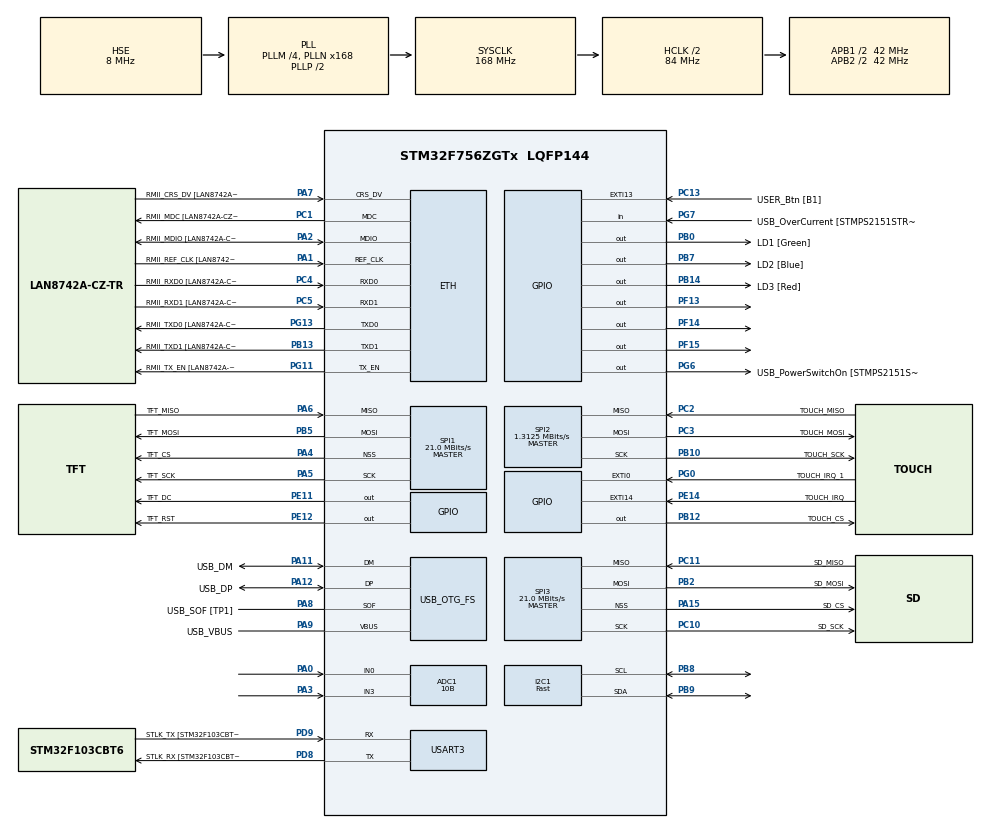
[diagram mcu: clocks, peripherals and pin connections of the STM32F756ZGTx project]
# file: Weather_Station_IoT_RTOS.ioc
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ADC1.Channel-0\#ChannelRegularConversion=ADC_CHANNEL_0
ADC1.Channel-1\#ChannelRegularConversion=ADC_CHANNEL_3
ADC1.Channel-2\#ChannelRegularConversion=ADC_CHANNEL_VBAT
ADC1.ContinuousConvMode=ENABLE
ADC1.DMAContinuousRequests=ENABLE
ADC1.EnableAnalogWatchDog=true
ADC1.HighThreshold=1000
ADC1.ITMode=ENABLE
ADC1.LowThreshold=0
ADC1.NbrOfConversion=3
ADC1.NbrOfConversionFlag=1
ADC1.Rank-0\#ChannelRegularConversion=1
ADC1.Rank-1\#ChannelRegularConversion=2
ADC1.Rank-2\#ChannelRegularConversion=3
ADC1.Resolution=ADC_RESOLUTION_10B
ADC1.SamplingTime-0\#ChannelRegularConversion=ADC_SAMPLETIME_84CYCLES
ADC1.SamplingTime-1\#ChannelRegularConversion=ADC_SAMPLETIME_84CYCLES
ADC1.SamplingTime-2\#ChannelRegularConversion=ADC_SAMPLETIME_144CYCLES
ADC1.ScanConvMode=ADC_SCAN_ENABLE
ADC1.WatchdogChannel=ADC_CHANNEL_VBAT
ADC1.master=1
Dma.ADC1.0.Direction=DMA_PERIPH_TO_MEMORY
Dma.ADC1.0.FIFOMode=DMA_FIFOMODE_DISABLE
Dma.ADC1.0.Instance=DMA2_Stream0
Dma.ADC1.0.MemDataAlignment=DMA_MDATAALIGN_HALFWORD
Dma.ADC1.0.MemInc=DMA_MINC_ENABLE
Dma.ADC1.0.Mode=DMA_CIRCULAR
Dma.ADC1.0.PeriphDataAlignment=DMA_PDATAALIGN_HALFWORD
Dma.ADC1.0.PeriphInc=DMA_PINC_DISABLE
Dma.ADC1.0.Priority=DMA_PRIORITY_LOW
Dma.Request0=ADC1
ETH.MediaInterface=ETH_MEDIA_INTERFACE_RMII
ETH.PhyAddress=0
FREERTOS.Tasks01=DefaultTask,8,128,StartDefaultTask,Default,NULL,Dynamic,NULL,NULL
FREERTOS.configCHECK_FOR_STACK_OVERFLOW=0
FREERTOS.configENABLE_FPU=0
FREERTOS.configIDLE_SHOULD_YIELD=1
FREERTOS.configMINIMAL_STACK_SIZE=128
FREERTOS.configTICK_RATE_HZ=100
FREERTOS.configTOTAL_HEAP_SIZE=32768
FREERTOS.configUSE_IDLE_HOOK=0
FREERTOS.configUSE_MALLOC_FAILED_HOOK=0
FREERTOS.configUSE_NEWLIB_REENTRANT=1
FREERTOS.configUSE_TICKLESS_IDLE=1
I2C1.Analog_Filter=I2C_ANALOGFILTER_DISABLE
I2C1.I2C_Speed_Mode=I2C_Fast
I2C1.Timing=0x0040174C
LPTIM1.ClockPrescaler=LPTIM_PRESCALER_DIV32
LWIP.DNS_LOCAL_HOSTLIST=0
LWIP.DNS_LOCAL_HOSTLIST_IS_DYNAMIC=0
LWIP.DNS_MAX_NAME_LENGTH=1024
LWIP.DNS_MAX_SERVERS=3
LWIP.GATEWAY_ADDRESS=192.168.001.001
LWIP.IP_ADDRESS=192.168.001.026
LWIP.LWIP_ALTCP=1
LWIP.LWIP_ALTCP_TLS=1
LWIP.LWIP_BROADCAST_PING=1
LWIP.LWIP_DHCP=0
LWIP.LWIP_DHCP_MAX_DNS_SERVERS=3
LWIP.LWIP_MULTICAST_PING=1
LWIP.LWIP_RAW=0
LWIP.LWIP_TCPIP_CORE_LOCKING=0
LWIP.MEM_SIZE=20000
LWIP.NETMASK_ADDRESS=255.255.255.000
LWIP.PBUF_POOL_BUFSIZE=1600
LWIP.TCPIP_THREAD_PRIO=5
LWIP.TCP_MSS=1460
LWIP.Version=v2.1.2_Cube
MBEDTLS.MBEDTLS_MEMORY_BUFFER_ALLOC_C=0
MBEDTLS.MBEDTLS_MPI_MAX_SIZE=256
MBEDTLS.MBEDTLS_MPI_MAX_SIZE_ENABLE=1
MBEDTLS.MBEDTLS_PLATFORM_MEMORY=0
MBEDTLS.MBEDTLS_SSL_CIPHERSUITES_ENABLE=1
MBEDTLS.MBEDTLS_SSL_MAX_CONTENT_LEN_ENABLE=1
Mcu.Family=STM32F7
Mcu.Name=STM32F756ZGTx
Mcu.Package=LQFP144
NVIC.ADC_IRQn=true\:5\:0\:true\:true\:true\:3\:true\:true\:true
NVIC.DMA2_Stream0_IRQn=true\:5\:0\:false\:false\:true\:true\:false\:true
NVIC.ETH_IRQn=true\:5\:0\:false\:false\:true\:true\:false\:true
NVIC.EXTI0_IRQn=true\:5\:0\:true\:true\:true\:1\:false\:true\:true
NVIC.EXTI15_10_IRQn=true\:5\:0\:false\:true\:true\:2\:true\:true\:true
NVIC.LPTIM1_IRQn=true\:5\:0\:false\:false\:true\:true\:true\:true
NVIC.PriorityGroup=NVIC_PRIORITYGROUP_4
NVIC.TIM6_DAC_IRQn=true\:15\:0\:false\:false\:true\:false\:false\:true
NVIC.TimeBase=TIM6_DAC_IRQn
NVIC.TimeBaseIP=TIM6
PA0/WKUP.Signal=ADCx_IN0
PA1.GPIO_Label=RMII_REF_CLK [LAN8742A-CZ-TR_REFCLK0]
PA1.Mode=RMII
PA1.Signal=ETH_REF_CLK
PA10.GPIO_Label=USB_ID
PA10.Signal=USB_OTG_FS_ID
PA11.GPIO_Label=USB_DM
PA11.Mode=Device_Only
PA11.Signal=USB_OTG_FS_DM
PA12.GPIO_Label=USB_DP
PA12.Mode=Device_Only
PA12.Signal=USB_OTG_FS_DP
PA13.GPIO_Label=TMS
PA13.Mode=Serial_Wire
PA13.Signal=SYS_JTMS-SWDIO
PA14.GPIO_Label=TCK
PA14.Mode=Serial_Wire
PA14.Signal=SYS_JTCK-SWCLK
PA15.GPIO_Label=SD_CS
PA15.Mode=NSS_Signal_Hard_Output
PA15.Signal=SPI3_NSS
PA2.GPIO_Label=RMII_MDIO [LAN8742A-CZ-TR_MDIO]
PA2.Mode=RMII
PA2.Signal=ETH_MDIO
PA3.Signal=ADCx_IN3
PA4.GPIO_Label=TFT_CS
PA4.Mode=NSS_Signal_Hard_Output
PA4.Signal=SPI1_NSS
PA5.GPIO_Label=TFT_SCK
PA5.Mode=Full_Duplex_Master
PA5.Signal=SPI1_SCK
PA6.GPIO_Label=TFT_MISO
PA6.Mode=Full_Duplex_Master
PA6.Signal=SPI1_MISO
PA7.GPIO_Label=RMII_CRS_DV [LAN8742A-CZ-TR_CRS_DV]
PA7.Mode=RMII
PA7.Signal=ETH_CRS_DV
PA8.GPIO_Label=USB_SOF [TP1]
PA8.Mode=Activate_SOF_FS
PA8.Signal=USB_OTG_FS_SOF
PA9.GPIO_Label=USB_VBUS
PA9.Mode=Activate_VBUS
PA9.Signal=USB_OTG_FS_VBUS
PB0.GPIO_Label=LD1 [Green]
PB0.Signal=GPIO_Output
PB10.GPIO_Label=TOUCH_SCK
PB10.Mode=Full_Duplex_Master
PB10.Signal=SPI2_SCK
PB12.GPIO_Label=TOUCH_CS
PB12.Signal=GPIO_Output
PB13.GPIO_Label=RMII_TXD1 [LAN8742A-CZ-TR_TXD1]
PB13.Mode=RMII
PB13.Signal=ETH_TXD1
PB14.GPIO_Label=LD3 [Red]
PB14.Signal=GPIO_Output
PB2.GPIO_Label=SD_MOSI
PB2.Mode=Full_Duplex_Master
PB2.Signal=SPI3_MOSI
PB3.GPIO_Label=SWO
PB3.Signal=SYS_JTDO-SWO
PB5.GPIO_Label=TFT_MOSI
PB5.Mode=Full_Duplex_Master
PB5.Signal=SPI1_MOSI
PB7.GPIO_Label=LD2 [Blue]
PB7.Signal=GPIO_Output
PB8.Mode=I2C
PB8.Signal=I2C1_SCL
PB9.Mode=I2C
PB9.Signal=I2C1_SDA
PC1.GPIO_Label=RMII_MDC [LAN8742A-CZ-TR_MDC]
PC1.Mode=RMII
PC1.Signal=ETH_MDC
PC10.GPIO_Label=SD_SCK
PC10.Mode=Full_Duplex_Master
PC10.Signal=SPI3_SCK
PC11.GPIO_Label=SD_MISO
PC11.Mode=Full_Duplex_Master
PC11.Signal=SPI3_MISO
PC13.GPIO_Label=USER_Btn [B1]
PC13.Signal=GPXTI13
PC14/OSC32_IN.Mode=LSE-External-Oscillator
PC14/OSC32_IN.Signal=RCC_OSC32_IN
PC15/OSC32_OUT.Mode=LSE-External-Oscillator
PC15/OSC32_OUT.Signal=RCC_OSC32_OUT
PC2.GPIO_Label=TOUCH_MISO
PC2.Mode=Full_Duplex_Master
PC2.Signal=SPI2_MISO
PC3.GPIO_Label=TOUCH_MOSI
PC3.Mode=Full_Duplex_Master
PC3.Signal=SPI2_MOSI
PC4.GPIO_Label=RMII_RXD0 [LAN8742A-CZ-TR_RXD0]
PC4.Mode=RMII
PC4.Signal=ETH_RXD0
PC5.GPIO_Label=RMII_RXD1 [LAN8742A-CZ-TR_RXD1]
PC5.Mode=RMII
PC5.Signal=ETH_RXD1
PD8.GPIO_Label=STLK_RX [STM32F103CBT6_PA3]
PD8.Mode=Asynchronous
PD8.Signal=USART3_TX
PD9.GPIO_Label=STLK_TX [STM32F103CBT6_PA2]
PD9.Mode=Asynchronous
PD9.Signal=USART3_RX
PE11.GPIO_Label=TFT_DC
PE11.Signal=GPIO_Output
PE12.GPIO_Label=TFT_RST
PE12.Signal=GPIO_Output
PE14.GPIO_Label=TOUCH_IRQ
PE14.GPIO_ModeDefaultEXTI=GPIO_MODE_IT_FALLING
PE14.Signal=GPXTI14
PF13.Signal=GPIO_Output
PF14.Signal=GPIO_Output
PF15.Signal=GPIO_Output
PG0.GPIO_Label=TOUCH_IRQ_1
PG0.GPIO_ModeDefaultEXTI=GPIO_MODE_IT_FALLING
PG0.Signal=GPXTI0
PG11.GPIO_Label=RMII_TX_EN [LAN8742A-CZ-TR_TXEN]
PG11.Mode=RMII
PG11.Signal=ETH_TX_EN
PG13.GPIO_Label=RMII_TXD0 [LAN8742A-CZ-TR_TXD0]
PG13.Mode=RMII
PG13.Signal=ETH_TXD0
PG6.GPIO_Label=USB_PowerSwitchOn [STMPS2151STR_EN]
PG6.Signal=GPIO_Output
PG7.GPIO_Label=USB_OverCurrent [STMPS2151STR_FAULT]
PG7.Signal=GPIO_Input
PH0/OSC_IN.GPIO_Label=MCO [STM32F103CBT6_PA8]
PH0/OSC_IN.Mode=HSE-External-Clock-Source
PH0/OSC_IN.Signal=RCC_OSC_IN
PH1/OSC_OUT.Mode=HSE-External-Clock-Source
PH1/OSC_OUT.Signal=RCC_OSC_OUT
ProjectManager.HeapSize=0x200
ProjectManager.StackSize=0x400
ProjectManager.TargetToolchain=STM32CubeIDE
RCC.AHBCLKDivider=RCC_SYSCLK_DIV2
RCC.AHBFreq_Value=84000000
RCC.APB1CLKDivider=RCC_HCLK_DIV2
RCC.APB1Freq_Value=42000000
RCC.APB1TimFreq_Value=84000000
RCC.APB2CLKDivider=RCC_HCLK_DIV2
RCC.APB2Freq_Value=42000000
RCC.APB2TimFreq_Value=84000000
RCC.CortexFreq_Value=84000000
RCC.HCLKFreq_Value=84000000
RCC.HSE_VALUE=8000000
RCC.HSI_VALUE=16000000
RCC.LPTIM1CLockSelection=RCC_LPTIM1CLKSOURCE_LSE
RCC.PLLM=4
RCC.PLLN=168
RCC.PLLQ=7
RCC.SYSCLKFreq_VALUE=168000000
RCC.SYSCLKSource=RCC_SYSCLKSOURCE_PLLCLK
RCC.USBFreq_Value=48000000
RCC.VCOOutputFreq_Value=336000000
SH.ADCx_IN0.0=ADC1_IN0,IN0
SH.ADCx_IN3.0=ADC1_IN3,IN3
SPI1.BaudRatePrescaler=SPI_BAUDRATEPRESCALER_2
SPI1.CLKPolarity=SPI_POLARITY_LOW
SPI1.CalculateBaudRate=21.0 MBits/s
SPI1.DataSize=SPI_DATASIZE_8BIT
SPI1.Direction=SPI_DIRECTION_2LINES
SPI1.Mode=SPI_MODE_MASTER
SPI1.NSSPMode=SPI_NSS_PULSE_DISABLE
SPI1.VirtualNSS=VM_NSSHARD
SPI1.VirtualType=VM_MASTER
SPI2.BaudRatePrescaler=SPI_BAUDRATEPRESCALER_32
SPI2.CalculateBaudRate=1.3125 MBits/s
SPI2.DataSize=SPI_DATASIZE_8BIT
SPI2.Direction=SPI_DIRECTION_2LINES
SPI2.Mode=SPI_MODE_MASTER
SPI2.NSSPMode=SPI_NSS_PULSE_DISABLE
SPI2.VirtualType=VM_MASTER
SPI3.CalculateBaudRate=21.0 MBits/s
SPI3.Direction=SPI_DIRECTION_2LINES
SPI3.Mode=SPI_MODE_MASTER
SPI3.VirtualNSS=VM_NSSHARD
SPI3.VirtualType=VM_MASTER
USART3.VirtualMode-Asynchronous=VM_ASYNC
USB_OTG_FS.VirtualMode=Device_Only
VP_ADC1_Vbat_Input.Mode=IN-Vbat
VP_FREERTOS_VS_CMSIS_V2.Mode=CMSIS_V2
VP_LPTIM1_VS_LPTIM_counterModeInternalClock.Mode=Counts__internal_clock_event_00
VP_LWIP_VS_Enabled.Mode=Enabled
VP_MBEDTLS_VS_MBEDTLS.Mode=Enabled
VP_RNG_VS_RNG.Mode=RNG_Activate
VP_SYS_VS_tim6.Mode=TIM6
board=custom

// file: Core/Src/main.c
/* USER CODE BEGIN Header */
/**
  ******************************************************************************
  * @file           : main.c
  * @brief          : Main program body
  ******************************************************************************
  * @attention
  *
  * <h2><center>&copy; Copyright (c) 2021 STMicroelectronics.
  * All rights reserved.</center></h2>
  *
  * This software component is licensed by ST under BSD 3-Clause license,
  * the "License"; You may not use this file except in compliance with the
  * License. You may obtain a copy of the License at:
  *                        opensource.org/licenses/BSD-3-Clause
  *
  ******************************************************************************
  */
/* USER CODE END Header */
#include "main.h"
#include "cmsis_os.h"
#include "adc.h"
#include "dma.h"
#include "i2c.h"
#include "lptim.h"
#include "mbedtls.h"
#include "rng.h"
#include "spi.h"
#include "usart.h"
#include "usb_otg.h"
#include "gpio.h"

void SystemClock_Config(void);
void MX_FREERTOS_Init(void);
static void MX_NVIC_Init(void);

int main(void)
{

  /* MCU Configuration--------------------------------------------------------*/

  /* Reset of all peripherals, Initializes the Flash interface and the Systick. */
  HAL_Init();

  /* Configure the system clock */
  SystemClock_Config();

  /* Initialize all configured peripherals */
  MX_GPIO_Init();
  MX_LPTIM1_Init();
  MX_DMA_Init();
  MX_USART3_UART_Init();
  MX_ADC1_Init();
  MX_SPI1_Init();
  MX_SPI2_Init();
  MX_SPI3_Init();
  MX_I2C1_Init();
  MX_USB_OTG_FS_PCD_Init();
  MX_RNG_Init();
  MX_MBEDTLS_Init(); // For further development

  /* Initialize interrupts */
  MX_NVIC_Init();

  /* Init scheduler */
  osKernelInitialize();  /* Call init function for freertos objects (in freertos.c) */
  MX_FREERTOS_Init();
  /* Start scheduler */
  osKernelStart();

  /* We should never get here as control is now taken by the scheduler */
  /* Infinite loop */
  while (1)
  {

  }
}

void SystemClock_Config(void)
{
  RCC_OscInitTypeDef RCC_OscInitStruct = {0};
  RCC_ClkInitTypeDef RCC_ClkInitStruct = {0};

  /** Configure LSE Drive Capability
  */
  HAL_PWR_EnableBkUpAccess();
  __HAL_RCC_LSEDRIVE_CONFIG(RCC_LSEDRIVE_LOW);
  /** Configure the main internal regulator output voltage
  */
  __HAL_RCC_PWR_CLK_ENABLE();
  __HAL_PWR_VOLTAGESCALING_CONFIG(PWR_REGULATOR_VOLTAGE_SCALE3);
  /** Initializes the RCC Oscillators according to the specified parameters
  * in the RCC_OscInitTypeDef structure.
  */
  RCC_OscInitStruct.OscillatorType = RCC_OSCILLATORTYPE_HSE|RCC_OSCILLATORTYPE_LSE;
  RCC_OscInitStruct.HSEState = RCC_HSE_BYPASS;
  RCC_OscInitStruct.LSEState = RCC_LSE_ON;
  RCC_OscInitStruct.PLL.PLLState = RCC_PLL_ON;
  RCC_OscInitStruct.PLL.PLLSource = RCC_PLLSOURCE_HSE;
  RCC_OscInitStruct.PLL.PLLM = 4;
  RCC_OscInitStruct.PLL.PLLN = 168;
  RCC_OscInitStruct.PLL.PLLP = RCC_PLLP_DIV2;
  RCC_OscInitStruct.PLL.PLLQ = 7;
  if (HAL_RCC_OscConfig(&RCC_OscInitStruct) != HAL_OK)
  {
    Error_Handler();
  }
  /** Initializes the CPU, AHB and APB buses clocks
  */
  RCC_ClkInitStruct.ClockType = RCC_CLOCKTYPE_HCLK|RCC_CLOCKTYPE_SYSCLK
                              |RCC_CLOCKTYPE_PCLK1|RCC_CLOCKTYPE_PCLK2;
  RCC_ClkInitStruct.SYSCLKSource = RCC_SYSCLKSOURCE_PLLCLK;
  RCC_ClkInitStruct.AHBCLKDivider = RCC_SYSCLK_DIV2;
  RCC_ClkInitStruct.APB1CLKDivider = RCC_HCLK_DIV2;
  RCC_ClkInitStruct.APB2CLKDivider = RCC_HCLK_DIV2;

  if (HAL_RCC_ClockConfig(&RCC_ClkInitStruct, FLASH_LATENCY_2) != HAL_OK)
  {
    Error_Handler();
  }
}

/**
  * @brief NVIC Configuration.
  * @retval None
  */
static void MX_NVIC_Init(void)
{
  /* EXTI0_IRQn interrupt configuration */
  HAL_NVIC_SetPriority(EXTI0_IRQn, 5, 0);
  HAL_NVIC_EnableIRQ(EXTI0_IRQn);
  /* EXTI15_10_IRQn interrupt configuration */
  HAL_NVIC_SetPriority(EXTI15_10_IRQn, 5, 0);
  HAL_NVIC_EnableIRQ(EXTI15_10_IRQn);
  /* ADC_IRQn interrupt configuration */
  HAL_NVIC_SetPriority(ADC_IRQn, 5, 0);
  HAL_NVIC_EnableIRQ(ADC_IRQn);
}

void HAL_TIM_PeriodElapsedCallback(TIM_HandleTypeDef *htim)
{
  if (htim->Instance == TIM6) {
    HAL_IncTick();
  }
}

void Error_Handler(void)
{
  __disable_irq();
  while (1)
  {
  }
}

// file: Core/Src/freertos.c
/* USER CODE BEGIN Header */
/**
 ******************************************************************************
 * File Name          : freertos.c
 * Description        : Code for freertos applications
 ******************************************************************************
 * @attention
 *
 * Copyright (c) 2022 STMicroelectronics.
 * All rights reserved.
 *
 * This software is licensed under terms that can be found in the LICENSE file
 * in the root directory of this software component.
 * If no LICENSE file comes with this software, it is provided AS-IS.
 *
 ******************************************************************************
 */
/* USER CODE END Header */

#include "FreeRTOS.h"
#include "task.h"
#include "main.h"
#include "cmsis_os.h"

/* USER CODE BEGIN Includes */
#include <stdarg.h>
#include <string.h>
#include <ip_addr.h>
#include "lwip.h"
#include "lwip/apps/mqtt_priv.h"
#include "lwip/api.h"
#include "MQTT_Interface.h"
#include "semphr.h"
#include "timers.h"
#include "printf.h"
#include "usart.h"
#include "i2c.h"
#include "spi.h"
#include "adc.h"
#include "helper_functions.h"
#include "Veml7700.h"
#include "Bme680.h"

#include "TFT_ILI9341.h"
#include "GFX_Color.h"
#include "GFX_EnhancedFonts.h"
#include "EnhancedFonts/times_new_roma_12pts_bold.h"
#include "background.h"
#include "XPT2046.h"

#include "http_client.h"

/* USER CODE END Includes */

/* USER CODE BEGIN PD */

#define LOW_PRIORITY 1
#define NORMAL_PRIORITY 2
#define HIGH_PRIORITY 3

#define ADC_SAMPLES 3
#define VEML7700_SAMPLES 2
#define BME680_SAMPLES 4

/* USER CODE END PD */

/* USER CODE BEGIN Variables */

extern TaskHandle_t xTCPHandle;

TaskHandle_t xLCDHandle = NULL;
SemaphoreHandle_t xMutexPrintf, xMutexIdle, xMutexI2C, xTCPSem;
QueueHandle_t xAnalogQueue, xVeml7700Queue, xBME680Queue, xWeatherQueue;
TimerHandle_t xTimerIdle, xTimerDelay;

extern LPTIM_HandleTypeDef hlptim1;

volatile uint32_t DelayTick;

/* USER CODE END Variables */
/* Definitions for DefaultTask */
osThreadId_t DefaultTaskHandle;
const osThreadAttr_t DefaultTask_attributes = {
  .name = "DefaultTask",
  .stack_size = 128 * 4,
  .priority = (osPriority_t) osPriorityLow,
};

/* USER CODE BEGIN FunctionPrototypes */
void vAnalogTask(void *pvParameters);
void vEthernetTask(void *pvParameters);
void vBme680Task(void *pvParameters);
void vLCDTask(void *pvParameters);
void vLCDTouchTask(void *pvParameters);
void vVeml7700Task(void *pvParameters);
void vMQTTTask(void *pvParameters);
void vHTTPTask(void *pvParameters);
void vTimerDelayCallback(TimerHandle_t xTimer);

/* USER CODE END FunctionPrototypes */

void StartDefaultTask(void *argument);

extern void MX_LWIP_Init(void);
void MX_FREERTOS_Init(void); /* (MISRA C 2004 rule 8.1) */

/* USER CODE BEGIN PREPOSTSLEEP */
__weak void PreSleepProcessing(uint32_t *ulExpectedIdleTime)
{
/* place for user code */
	HAL_SuspendTick();
	HAL_LPTIM_TimeOut_Start_IT(&hlptim1, 0xFFFF, *ulExpectedIdleTime);
}

__weak void PostSleepProcessing(uint32_t *ulExpectedIdleTime)
{
/* place for user code */
	HAL_LPTIM_TimeOut_Stop_IT(&hlptim1);
	HAL_ResumeTick();
}
/* USER CODE END PREPOSTSLEEP */

void MX_FREERTOS_Init(void) {

  /* USER CODE BEGIN RTOS_MUTEX */
	/* add mutexes, ... */
	xMutexPrintf = xSemaphoreCreateMutex();
	xMutexIdle = xSemaphoreCreateMutex();
	xMutexI2C = xSemaphoreCreateMutex();
  /* USER CODE END RTOS_MUTEX */

  /* USER CODE BEGIN RTOS_TIMERS */
	/* start timers, add new ones, ... */
	xTimerDelay = xTimerCreate("TimerDelay", pdMS_TO_TICKS(1000), pdTRUE, (void*) 0, vTimerDelayCallback);
  /* USER CODE END RTOS_TIMERS */

  /* USER CODE BEGIN RTOS_QUEUES */
	/* add queues, ... */
	xAnalogQueue = xQueueCreate(2, sizeof(Analog_t));
	xVeml7700Queue = xQueueCreate(2, sizeof(Veml7700_t));
	xBME680Queue = xQueueCreate(2, sizeof(BME680_TypeDef));
	xWeatherQueue = xQueueCreate(2, sizeof(weather_t));
  /* USER CODE END RTOS_QUEUES */

  /* Create the thread(s) */
  /* creation of DefaultTask */
  DefaultTaskHandle = osThreadNew(StartDefaultTask, NULL, &DefaultTask_attributes);

  /* USER CODE BEGIN RTOS_THREADS */
	/* add threads, ... */
	xTaskCreate(vAnalogTask, "AnalogTask", 256, (void*) 1, NORMAL_PRIORITY, NULL);
	xTaskCreate(vBme680Task, "Bme680Task", 512, (void*) 1, NORMAL_PRIORITY, NULL);
	xTaskCreate(vLCDTask, "LCDTask", 512, (void*) 1, HIGH_PRIORITY, &xLCDHandle);
	xTaskCreate(vLCDTouchTask, "LCDTouchTask", 256, (void*) 1, NORMAL_PRIORITY, NULL);
	xTaskCreate(vVeml7700Task, "Veml7700Task", 256, (void*) 1, NORMAL_PRIORITY, NULL);
	xTaskCreate(vMQTTTask, "vMQTTTask", 1024, (void*) 1, HIGH_PRIORITY, NULL);
  /* USER CODE END RTOS_THREADS */

}

void StartDefaultTask(void *argument)
{
  /* USER CODE BEGIN StartDefaultTask */
	if( xTimerStart(xTimerDelay, 0) != pdPASS) {
		printf("Timer not created\n\r");
	}

	osThreadSuspend(DefaultTaskHandle);
  /* USER CODE END StartDefaultTask */
}

/* USER CODE BEGIN Application */

/* Analog Task (VBat, Rain Sensor, Soil moisture sensor) */
void vAnalogTask(void *pvParameters) {

	configASSERT(((uint32_t ) pvParameters) == 1);

	Analog_t adc = { 0 };

	HAL_ADC_Start_DMA(&hadc1, (uint32_t*) adc.AdcRawValue, 3);

	for (;;) {

		xCalcAdc(adc.AdcRawValue, adc.Resault);
		xQueueSend(xAnalogQueue, &adc, 0);
		vTaskDelay(pdMS_TO_TICKS(500));
	}
}

/* Weather sensor (temperature, humidity, atmospheric pressure */
void vBme680Task(void *pvParameters) {

	configASSERT(((uint32_t ) pvParameters) == 1);

	BME680_TypeDef Bme680;
	BME680_Calib_TypeDef Bme680_calib;

	xSemaphoreTake(xMutexI2C, portMAX_DELAY);
	Bme680_Init(&Bme680, &Bme680_calib, &hi2c1, BME680_ADDR);
	Bme680_Set_Conf(&Bme680, BME680_OSRS_T_OVR_SAMPLING_2, BME680_OSRS_H_OVR_SAMPLING_4, BME680_OSRS_P_OVR_SAMPLING_8, BME680_FILTER_7);
	Bme680_Set_Gas_Conf(&Bme680, &Bme680_calib ,Bme680.Gas_heat_dur);
	Bme680_Run_Gas(&Bme680);
	xSemaphoreGive(xMutexI2C);

	for (;;) {
		xSemaphoreTake(xMutexI2C, portMAX_DELAY);
		Bme680_Set_Mode(&Bme680, BME680_MODE_FORCE);
		BME680_calc_raw_values(&Bme680, &Bme680_calib);
		Bme680_Set_Mode(&Bme680, BME680_MODE_SLEEP);
		xSemaphoreGive(xMutexI2C);

		xQueueSend(xBME680Queue, &Bme680, 0);

		vTaskDelay(pdMS_TO_TICKS(250));
	}
}

/* LCD TFT 2,8" */
void vLCDTask(void *pvParameters) {
	configASSERT(((uint32_t ) pvParameters) == 1);

	uint32_t w_flag = 0;
	uint32_t *weather_widget = &w_flag;

	BaseType_t xStatus;

	uint32_t percentage = 0;
	uint32_t flag;

	Analog_t adc = {0};
	Veml7700_t veml = {0};
	BME680_TypeDef Bme680 = {0};

	weather_t w = {0};
	weather_t *weather = &w;

	ILI9341_Init(&hspi1);
	EF_SetFont(&timesNewRoman_12ptFontInfo);
	ILI9341_DrawImage(0, 0, background, ILI9341_TFTWIDTH, ILI9341_TFTHEIGHT);

	for (;;) {

		if (*weather_widget == 0) {
			xStatus = xQueueReceive(xAnalogQueue, &adc, pdMS_TO_TICKS(0));
			if (xStatus == pdPASS) {
				if (adc.Resault[0] == 99) {
					EF_PutString((const uint8_t*) "Not Raining", 167, 65,
					ILI9341_RED, BG_COLOR, ILI9341_BLACK);
				} else {
					EF_PutString((const uint8_t*) "    Raining  ", 167, 65,
					ILI9341_CYAN, BG_COLOR, ILI9341_BLACK);
				}
				ConvertValuesToTFT(245, 110, "%d", adc.Resault[1]);
			}

			xStatus = xQueueReceive(xVeml7700Queue, &veml, pdMS_TO_TICKS(0));
			if (xStatus == pdPASS) {
				if (veml.calc_values[0] < 100) {
					ConvertValuesToTFT(245, 157, "%d   ", veml.calc_values[0]);
				} else {
					ConvertValuesToTFT(245, 157, "%d", veml.calc_values[0]);
				}
			}

			xStatus = xQueueReceive(xBME680Queue, &Bme680, pdMS_TO_TICKS(0));
			if (xStatus == pdPASS) {
				ConvertValuesToTFT(60, 110, "%.2f  ", Bme680.Temperature_Calc);
				ConvertValuesToTFT(60, 67, "%.2f  ", Bme680.Pressure_Calc);
				ConvertValuesToTFT(60, 160, "%.2f  ", Bme680.Humidity_Calc);
				ConvertValuesToTFT(60, 200, "%.2f  ", Bme680.IAQ_Calc);
			}
		} else if (*weather_widget == 1) {
			xQueueReceive(xWeatherQueue, &weather, pdMS_TO_TICKS(0));
			ConvertValuesToTFT(60, 110, "%.2f     ", weather->temperature);
			ConvertValuesToTFT(60, 70, "%u     ", weather->pressure);
			ConvertValuesToTFT(60, 160, "%u     ", weather->humidity);
			ConvertValuesToTFT(205, 67, "%.2f m/s", weather->wind_speed);
			ConvertValuesToTFT(235, 115, "%.2f", weather->feels_like);
		}

		Battery_Control(&adc, &percentage);

		xTaskNotifyWait(0, 0xFFFFFFFF, &flag, 100);

		switch (flag) {
		case 0x01:
			ILI9341_DrawImage(0, 0, background2, ILI9341_TFTWIDTH, ILI9341_TFTHEIGHT);
			EF_PutString((const uint8_t*) "Widget Values", 100, 10, ILI9341_MAGENTA, BG_TRANSPARENT, 0);
			w_flag = 1;
			vTaskResume(xTCPHandle);
			break;
		case 0x02:
			ILI9341_DrawImage(0, 0, background, ILI9341_TFTWIDTH, ILI9341_TFTHEIGHT);
			w_flag = 0;
			vTaskSuspend(xTCPHandle);
			break;
		default:
			break;
		}

		if (DelayTick == 1) {
			ILI9341_ClearDisplay(ILI9341_BLACK, 282 + percentage, 12, 1, 11);
			DelayTick = 0;
		}
	}
}

/* LCD Touch */
void vLCDTouchTask(void *pvParameters) {
	configASSERT(((uint32_t ) pvParameters) == 1);

	uint8_t counter = 0;

	uint16_t Xread, Yread;
	XPT2046_Init(&hspi2, EXTI0_IRQn);

	for (;;) {
		XPT2046_Task();
		if (XPT2046_IsTouched()) {
			XPT2046_GetTouchPoint(&Xread, &Yread);
			if (Xread > 20 && Yread > 190 && Xread < 110) {
				counter++;
			}

			switch (counter) {
			case 1:
				xTaskNotify(xLCDHandle, 0x01, eSetBits);
				break;
			case 2:
				xTaskNotify(xLCDHandle, 0x02, eSetBits);
			default:
				counter = 0;
				break;
			}
		}
		vTaskDelay(pdMS_TO_TICKS(100));
	}
}

/* Digital Ambient Light Sensor */
void vVeml7700Task(void *pvParameters) {
	configASSERT(((uint32_t ) pvParameters) == 1);

	Veml7700_t Veml_data = {0};
	VEML7700_TypeDef Veml7700;

	xSemaphoreTake(xMutexI2C, portMAX_DELAY);
	Veml7700_Init(&Veml7700, &hi2c1, VEML7700_ADDR); // gain x2
	Veml7700_Set_Als_Integration_Time(&Veml7700, REG_ALS_CONF_IT_25); //25ms
	VEML7700_Set_PSM(&Veml7700, REG_POWER_SAVING_PSM_2);
	xSemaphoreGive(xMutexI2C);

	for (;;) {

		xSemaphoreTake(xMutexI2C, portMAX_DELAY);
		Veml7700_Power_On(&Veml7700);
		xSemaphoreGive(xMutexI2C);
		vTaskDelay(pdMS_TO_TICKS(40));

		xSemaphoreTake(xMutexI2C, portMAX_DELAY);
		Veml_data.als = VEML7700_read_als(&Veml7700);
		Veml_data.white = VEML7700_read_white(&Veml7700);

		Veml7700_Shutdown(&Veml7700);
		xSemaphoreGive(xMutexI2C);

		Veml_data.calc_values[0] = (Veml_data.als * VEML7700_RESOLUTION);
		Veml_data.calc_values[1] = (Veml_data.white * VEML7700_RESOLUTION);

		xQueueSend(xVeml7700Queue, &Veml_data, 0);

		vTaskDelay(pdMS_TO_TICKS(250));
	}
}

/* Ethernet Task. LWIP and MQTT */
void vMQTTTask(void *pvParameters) {
	configASSERT(((uint32_t ) pvParameters) == 1);

	err_t err = 1;
	extern struct netif gnetif;
	mqtt_client_t static_client = { 0 };

	BaseType_t xStatus;

	Analog_t adc = {0};
	Veml7700_t veml = {0};
	BME680_TypeDef Bme680 = {0};

	MX_LWIP_Init();
	ethernetif_notify_conn_changed(&gnetif);
	openweather_init();

	for (;;) {

		if (err != ERR_OK) {
			err = mqtt_user_connect(&static_client);
		} else {
			xStatus = xQueueReceive(xAnalogQueue, &adc, pdMS_TO_TICKS(0));
			if (xStatus == pdPASS) {
				if (adc.Resault[0] == 99) {
					err = mqtt_user_publish(&static_client, 0, "Not Raining | Ground Moisture: %d%%", adc.Resault[1]);
				} else {
					err = mqtt_user_publish(&static_client, 0, "Raining | Ground Moisture: %d%%", adc.Resault[1]);
				}
			}

			xStatus = xQueueReceive(xVeml7700Queue, &veml, pdMS_TO_TICKS(0));
			if (xStatus == pdPASS) {
				err = mqtt_user_publish(&static_client, 0, "Lux: %d lx", veml.calc_values[0]);
			}

			xStatus = xQueueReceive(xBME680Queue, &Bme680, pdMS_TO_TICKS(0));
			if (xStatus == pdPASS) {
				err = mqtt_user_publish(&static_client, 0,
						"Temperature: %.2f *C | Pressure: %.2f hPa | Humidity: %.2f%% | IAQ: %.2f",
						Bme680.Temperature_Calc,
						(Bme680.Pressure_Calc),
						Bme680.Humidity_Calc, Bme680.IAQ_Calc);
			}
		}

		if (err != ERR_OK) {
			mqtt_disconnect(&static_client);
			mqtt_client_free(&static_client);
		}

		vTaskDelay(pdMS_TO_TICKS(5000)); // Send weather parameters via MQTT to AWS every 5s
	}
}

void vHTTPTask(void *pvParameters) {
	configASSERT(((uint32_t ) pvParameters) == 1);

	struct netconn *conn = NULL;
	struct netbuf *buf = NULL;

	weather_t w = {0};
	weather_t *weather = &w;

	for (;;) {
		openweather_task(weather, conn, buf);
		vTaskDelay(pdMS_TO_TICKS(30000)); // Get weather from openweathermap every 30s
	}
}

/*-----------------------UART---------------------------------*/
void _putchar(char character) {
// send char to console etc.
	xSemaphoreTake(xMutexPrintf, portMAX_DELAY);
	HAL_UART_Transmit(&huart3, (uint8_t*) &character, 1, 1000);
	xSemaphoreGive(xMutexPrintf);
}

/* USER CODE END Application */
